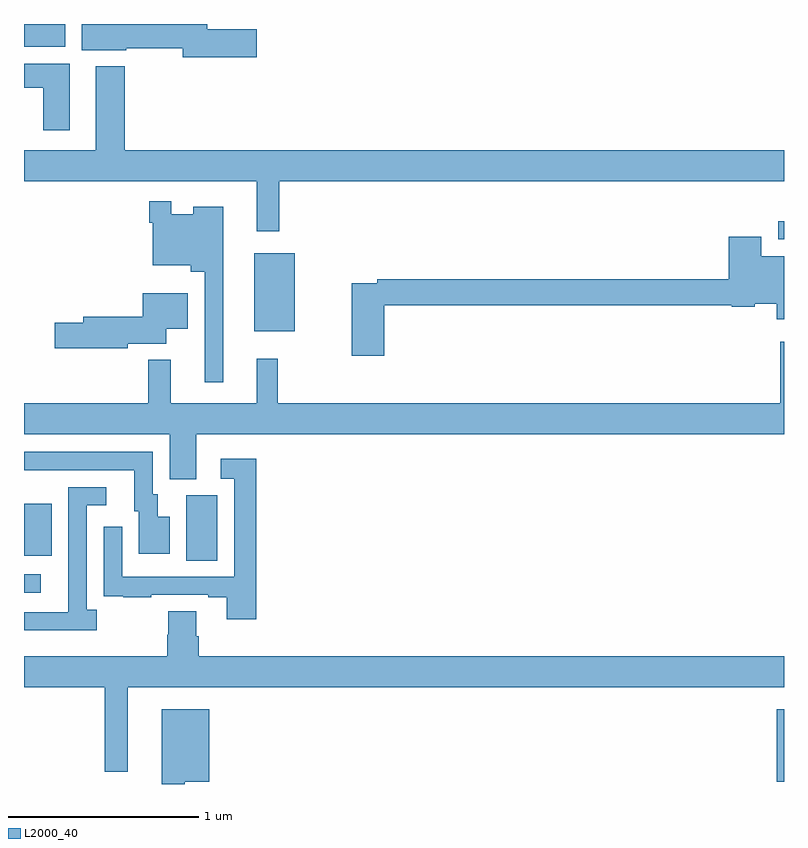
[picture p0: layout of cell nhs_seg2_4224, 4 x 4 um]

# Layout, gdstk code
import gdstk
lib = gdstk.Library(unit=1e-6, precision=1e-09)
def R(c, l, rs):  # rectangles x0, y0, x1, y1
    for r in rs: c.add(gdstk.rectangle(r[:2], r[2:], *l))
def P(c, l, *ps):  # polygons
    for p in ps: c.add(gdstk.Polygon(p, *l))
L2000_40 = (2000, 40)

nhs_seg2_4224 = lib.new_cell('nhs_seg2_4224')
R(nhs_seg2_4224, L2000_40, [(342.962,641.813,343,642.193), (339,642.807,339.088,642.903), (339.854,642.976,340.018,643.32), (339,643.001,339.145,643.276), (340.211,644.183,340.426,644.593), (342.969,644.667,343,644.763), (339,645.68,339.217,645.8)])
P(nhs_seg2_4224, L2000_40, [(340.225,645.773),(339.964,645.773),(339.964,645.8),(339.305,645.8),(339.305,645.662),(339.538,645.662),(339.538,645.673),(339.836,645.673),(339.836,645.626),(340.225,645.626)],
  [(339.241,645.592),(339,645.592),(339,645.464),(339.101,645.464),(339.101,645.24),(339.241,645.24)],
  [(340.343,644.972),(343,644.972),(343,645.136),(339.53,645.136),(339.53,645.577),(339.377,645.577),(339.377,645.136),(339,645.136),(339,644.972),(340.226,644.972),(340.226,644.709),(340.343,644.709)],
  [(340.048,644.839),(339.89,644.839),(339.89,644.8),(339.774,644.8),(339.774,644.866),(339.658,644.866),(339.658,644.753),(339.678,644.753),(339.678,644.531),(339.878,644.531),(339.878,644.495),(339.951,644.495),(339.951,643.914),(340.048,643.914)],
  [(340.895,644.32),(342.726,644.32),(342.726,644.312),(342.846,644.312),(342.846,644.327),(342.962,644.327),(342.962,644.246),(343,644.246),(343,644.578),(342.88,644.578),(342.88,644.68),(342.71,644.68),(342.71,644.456),(340.858,644.456),(340.858,644.436),(340.724,644.436),(340.724,644.055),(340.895,644.055)],
  [(339.546,644.117),(339.748,644.117),(339.748,644.195),(339.862,644.195),(339.862,644.383),(339.626,644.383),(339.626,644.258),(339.311,644.258),(339.311,644.228),(339.162,644.228),(339.162,644.093),(339.546,644.093)],
  [(339.907,643.64),(343,643.64),(343,644.128),(342.979,644.128),(342.979,643.804),(340.336,643.804),(340.336,644.038),(340.226,644.038),(340.226,643.804),(339.773,643.804),(339.773,644.032),(339.655,644.032),(339.655,643.804),(339,643.804),(339,643.64),(339.767,643.64),(339.767,643.405),(339.907,643.405)],
  [(339.766,643.207),(339.703,643.207),(339.703,643.326),(339.678,643.326),(339.678,643.548),(339,643.548),(339,643.452),(339.581,643.452),(339.581,643.236),(339.605,643.236),(339.605,643.011),(339.766,643.011)],
  [(340.223,643.513),(340.035,643.513),(340.035,643.407),(340.107,643.407),(340.107,642.891),(339.516,642.891),(339.516,643.153),(339.42,643.153),(339.42,642.898),(339.421,642.898),(339.421,642.789),(339.523,642.789),(339.523,642.783),(339.671,642.783),(339.671,642.795),(339.971,642.795),(339.971,642.783),(340.067,642.783),(340.067,642.666),(340.223,642.666)],
  [(339.382,642.718),(339.33,642.718),(339.33,643.266),(339.433,643.266),(339.433,643.362),(339.234,643.362),(339.234,642.905),(339.233,642.905),(339.233,642.705),(339,642.705),(339,642.608),(339.382,642.608)],
  [(339.547,642.308),(343,642.308),(343,642.472),(339.92,642.472),(339.92,642.578),(339.907,642.578),(339.907,642.71),(339.76,642.71),(339.76,642.585),(339.755,642.585),(339.755,642.472),(339,642.472),(339,642.308),(339.426,642.308),(339.426,641.864),(339.547,641.864)],
  [(339.847,641.813),(339.976,641.813),(339.976,642.193),(339.725,642.193),(339.725,641.8),(339.847,641.8)])

lib.write_gds('nhs_seg2_4224.gds')
